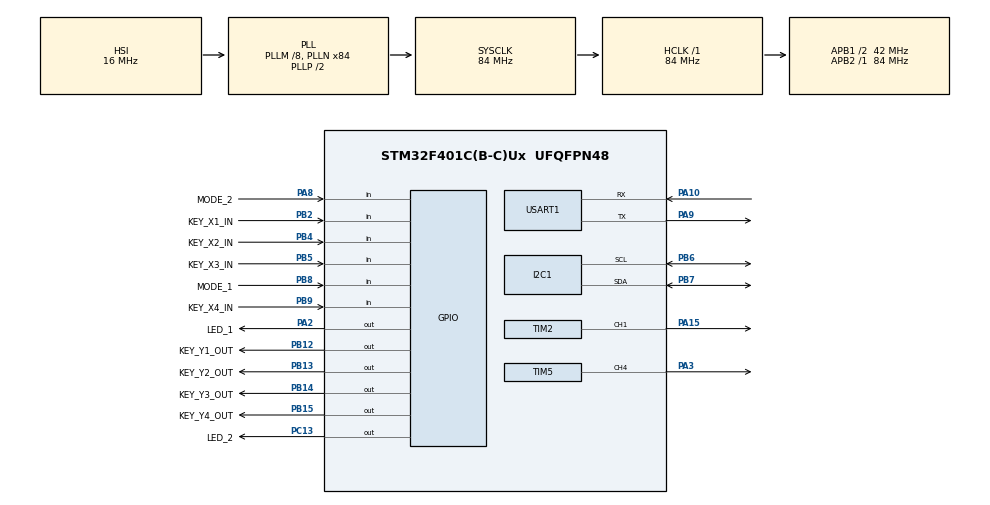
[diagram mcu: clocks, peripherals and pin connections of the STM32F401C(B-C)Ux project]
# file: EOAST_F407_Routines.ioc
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Dma.Request0=TIM2_CH1
Dma.TIM2_CH1.0.Direction=DMA_MEMORY_TO_PERIPH
Dma.TIM2_CH1.0.FIFOMode=DMA_FIFOMODE_DISABLE
Dma.TIM2_CH1.0.Instance=DMA1_Stream5
Dma.TIM2_CH1.0.MemDataAlignment=DMA_MDATAALIGN_WORD
Dma.TIM2_CH1.0.MemInc=DMA_MINC_ENABLE
Dma.TIM2_CH1.0.Mode=DMA_NORMAL
Dma.TIM2_CH1.0.PeriphDataAlignment=DMA_PDATAALIGN_WORD
Dma.TIM2_CH1.0.PeriphInc=DMA_PINC_DISABLE
Dma.TIM2_CH1.0.Priority=DMA_PRIORITY_LOW
I2C1.I2C_Mode=I2C_Fast
Mcu.Family=STM32F4
Mcu.Name=STM32F401C(B-C)Ux
Mcu.Package=UFQFPN48
NVIC.DMA1_Stream5_IRQn=true\:0\:0\:false\:false\:true\:false\:true\:true
NVIC.PriorityGroup=NVIC_PRIORITYGROUP_4
PA10.Mode=Asynchronous
PA10.Signal=USART1_RX
PA13.Mode=Serial_Wire
PA13.Signal=SYS_JTMS-SWDIO
PA14.Mode=Serial_Wire
PA14.Signal=SYS_JTCK-SWCLK
PA15.Signal=S_TIM2_CH1_ETR
PA2.GPIO_Label=LED_1
PA2.GPIO_Speed=GPIO_SPEED_FREQ_VERY_HIGH
PA2.Signal=GPIO_Output
PA3.Signal=S_TIM5_CH4
PA8.GPIO_Label=MODE_2
PA8.GPIO_PuPd=GPIO_PULLUP
PA8.Signal=GPIO_Input
PA9.Mode=Asynchronous
PA9.Signal=USART1_TX
PB12.GPIO_Label=KEY_Y1_OUT
PB12.GPIO_Speed=GPIO_SPEED_FREQ_VERY_HIGH
PB12.PinState=GPIO_PIN_SET
PB12.Signal=GPIO_Output
PB13.GPIO_Label=KEY_Y2_OUT
PB13.GPIO_Speed=GPIO_SPEED_FREQ_VERY_HIGH
PB13.PinState=GPIO_PIN_SET
PB13.Signal=GPIO_Output
PB14.GPIO_Label=KEY_Y3_OUT
PB14.GPIO_Speed=GPIO_SPEED_FREQ_VERY_HIGH
PB14.PinState=GPIO_PIN_SET
PB14.Signal=GPIO_Output
PB15.GPIO_Label=KEY_Y4_OUT
PB15.GPIO_Speed=GPIO_SPEED_FREQ_VERY_HIGH
PB15.PinState=GPIO_PIN_SET
PB15.Signal=GPIO_Output
PB2.GPIO_Label=KEY_X1_IN
PB2.GPIO_PuPd=GPIO_PULLDOWN
PB2.Signal=GPIO_Input
PB4.GPIO_Label=KEY_X2_IN
PB4.GPIO_PuPd=GPIO_PULLDOWN
PB4.Signal=GPIO_Input
PB5.GPIO_Label=KEY_X3_IN
PB5.GPIO_PuPd=GPIO_PULLDOWN
PB5.Signal=GPIO_Input
PB6.Mode=I2C
PB6.Signal=I2C1_SCL
PB7.Mode=I2C
PB7.Signal=I2C1_SDA
PB8.GPIO_Label=MODE_1
PB8.GPIO_PuPd=GPIO_PULLUP
PB8.Signal=GPIO_Input
PB9.GPIO_Label=KEY_X4_IN
PB9.GPIO_PuPd=GPIO_PULLDOWN
PB9.Signal=GPIO_Input
PC13-ANTI_TAMP.GPIO_Label=LED_2
PC13-ANTI_TAMP.GPIO_Speed=GPIO_SPEED_FREQ_LOW
PC13-ANTI_TAMP.Signal=GPIO_Output
PH0\ -\ OSC_IN.Mode=HSE-External-Oscillator
PH0\ -\ OSC_IN.Signal=RCC_OSC_IN
PH1\ -\ OSC_OUT.Mode=HSE-External-Oscillator
PH1\ -\ OSC_OUT.Signal=RCC_OSC_OUT
ProjectManager.HeapSize=0x200
ProjectManager.StackSize=0x400
ProjectManager.TargetToolchain=MDK-ARM V5.32
RCC.48MHZClocksFreq_Value=42000000
RCC.AHBFreq_Value=84000000
RCC.APB1CLKDivider=RCC_HCLK_DIV2
RCC.APB1Freq_Value=42000000
RCC.APB1TimFreq_Value=84000000
RCC.APB2Freq_Value=84000000
RCC.APB2TimFreq_Value=84000000
RCC.CortexFreq_Value=84000000
RCC.HCLKFreq_Value=84000000
RCC.HSE_VALUE=25000000
RCC.HSI_VALUE=16000000
RCC.LSE_VALUE=32768
RCC.PLLM=8
RCC.PLLN=84
RCC.SYSCLKFreq_VALUE=84000000
RCC.SYSCLKSource=RCC_SYSCLKSOURCE_PLLCLK
RCC.VCOOutputFreq_Value=168000000
SH.S_TIM2_CH1_ETR.0=TIM2_CH1,PWM Generation1 CH1
SH.S_TIM5_CH4.0=TIM5_CH4,PWM Generation4 CH4
TIM2.Channel-PWM\ Generation1\ CH1=TIM_CHANNEL_1
TIM2.Period=105
TIM5.Channel-PWM\ Generation4\ CH4=TIM_CHANNEL_4
TIM5.Period=10-1
TIM5.Prescaler=840-1
TIM5.Pulse-PWM\ Generation4\ CH4=5-1
USART1.VirtualMode=VM_ASYNC
VP_TIM2_VS_ClockSourceINT.Mode=Internal
VP_TIM5_VS_ClockSourceINT.Mode=Internal
board=custom

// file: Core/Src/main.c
/* USER CODE BEGIN Header */
/**
  ******************************************************************************
  * @file           : main.c
  * @brief          : Main program body
  ******************************************************************************
  * @attention
  *
  * Copyright (c) 2024 STMicroelectronics.
  * All rights reserved.
  *
  * This software is licensed under terms that can be found in the LICENSE file
  * in the root directory of this software component.
  * If no LICENSE file comes with this software, it is provided AS-IS.
  *
  ******************************************************************************
  */
/* USER CODE END Header */
#include "main.h"
#include "dma.h"
#include "i2c.h"
#include "tim.h"
#include "usart.h"
#include "gpio.h"

/* USER CODE BEGIN Includes */
#include "FZX_KEY.h"
#include "oled.h"
#include "Dino.h"
#include "stdio.h"
#include "2812_driver.h"
/* USER CODE END Includes */

void SystemClock_Config(void);

int main(void)
{
  /* USER CODE BEGIN 1 */
int MODE = 0;//Mode selection
int Flag_Dino = 1;//Mode selection flag
uint8_t TxBuffer[]="hello world\r\n";//定义字符串变�?
  /* USER CODE END 1 */

  /* MCU Configuration--------------------------------------------------------*/

  /* Reset of all peripherals, Initializes the Flash interface and the Systick. */
  HAL_Init();

  /* Configure the system clock */
  SystemClock_Config();

  /* Initialize all configured peripherals */
  MX_GPIO_Init();
  MX_DMA_Init();
  MX_I2C1_Init();
  MX_USART1_UART_Init();
  MX_TIM2_Init();
  MX_TIM5_Init();
  /* USER CODE BEGIN 2 */
	HAL_Delay(20);
	HAL_TIM_PWM_Init(&htim5);
	OLED_Init();

		OLED_NewFrame();
		OLED_PrintString(16, 0, "南京邮电大学", &font16x16, OLED_COLOR_NORMAL);
		OLED_PrintString(48, 16, "EOAST", &font16x16, OLED_COLOR_NORMAL);
		OLED_PrintString(35, 32, "科协例程", &font16x16, OLED_COLOR_NORMAL);
		OLED_ShowFrame();

		HAL_TIM_PWM_Start(&htim5,TIM_CHANNEL_4);

		HAL_Delay(200);
		HAL_GPIO_TogglePin(GPIOA,GPIO_PIN_2);

		for(int i = 5; i > 0 ; i-- ){
		HAL_GPIO_TogglePin(GPIOC,GPIO_PIN_13);
		HAL_GPIO_TogglePin(GPIOA,GPIO_PIN_2);
			switch (i)
			{
				case 5:
					RGB_RED(4); HAL_Delay(100);RGB_BLACK(4);break;
				case 4:
					RGB_GREEN(4);HAL_Delay(100);RGB_BLACK(4);break;
				case 3:
					RGB_BLUE(4);HAL_Delay(100);RGB_BLACK(4);break;
				case 2:
					RGB_WHITE(4);HAL_Delay(100);RGB_BLACK(4);break;
				case 1:
					RGB_RED(4); HAL_Delay(100);RGB_BLACK(4);break;
			}
		HAL_Delay(100);
		}

		HAL_GPIO_WritePin(GPIOA,GPIO_PIN_2,1);
		HAL_GPIO_WritePin(GPIOC,GPIO_PIN_13,1);

		RGB_BLACK(4);

		HAL_TIM_PWM_Stop(&htim5,TIM_CHANNEL_4);

		OLED_NewFrame();
		OLED_ShowFrame();
		HAL_Delay(100);
  /* USER CODE END 2 */

  /* Infinite loop */
  /* USER CODE BEGIN WHILE */
	introMessage();
  while (1)
  {
		HAL_UART_Transmit(&huart1, (uint8_t *)TxBuffer, sizeof(TxBuffer),0xFFFF);
		//Code block one:Mode selection
		if(HAL_GPIO_ReadPin(GPIOB,GPIO_PIN_8) == 0)
		{
			MODE = 0;
			Flag_Dino = 1;
		}
		if(HAL_GPIO_ReadPin(GPIOA,GPIO_PIN_8) == 0)
		{
			MODE = 1;
			Flag_Dino = 1;
		}
		//Code block one:Mode selection

		//Code block two
		switch (MODE)
		{
			case 0://MODE_0 DINO_GAME
			{
				if(Flag_Dino){
					introMessage();
					Flag_Dino = 0;
				}
				if (HAL_GPIO_ReadPin(GPIOB, GPIO_PIN_2) == GPIO_PIN_SET || HAL_GPIO_ReadPin(GPIOB, GPIO_PIN_4) == GPIO_PIN_SET ||
				HAL_GPIO_ReadPin(GPIOB, GPIO_PIN_5) == GPIO_PIN_SET || HAL_GPIO_ReadPin(GPIOB, GPIO_PIN_9) == GPIO_PIN_SET) {
					showLine();
					play();
					HAL_Delay(300);
				}
				break;
			}
			case 1:
			{
				int key = 0;

				if(Flag_Dino){
					OLED_NewFrame();
					OLED_ShowFrame();
					HAL_Delay(100);
					Flag_Dino = 0;
				}

				key = KEY_Scan();

				if(key == 1){
					OLED_NewFrame();
					OLED_DrawImage(0, 0, &muaImg , OLED_COLOR_NORMAL);
					OLED_ShowFrame();
					HAL_Delay(100);
				}
				else if(key == 2){
					OLED_NewFrame();
					OLED_DrawImage(0, 0, &enenImg , OLED_COLOR_NORMAL);
					OLED_ShowFrame();
					HAL_Delay(100);
				}
				else if(key == 3){
					OLED_NewFrame();
					OLED_DrawImage(0, 0, &xixiImg , OLED_COLOR_NORMAL);
					OLED_ShowFrame();
					HAL_Delay(100);
				}
				else if(key == 4){
					OLED_NewFrame();
					OLED_DrawImage(0, 0, &enImg , OLED_COLOR_NORMAL);
					OLED_ShowFrame();
					HAL_Delay(100);
				}
				else if(key == 5){
					OLED_NewFrame();
					OLED_DrawImage(0, 0, &winkImg , OLED_COLOR_NORMAL);
					OLED_ShowFrame();
					HAL_Delay(100);
				}
				else if(key == 6){
					OLED_NewFrame();
					OLED_DrawImage(0, 0, &aImg , OLED_COLOR_NORMAL);
					OLED_ShowFrame();
					HAL_Delay(100);
				}
				else if(key == 7){
					OLED_NewFrame();
					OLED_DrawImage(0, 0, &aowuImg , OLED_COLOR_NORMAL);
					OLED_ShowFrame();
					HAL_Delay(100);
				}
				else if(key == 8){
					OLED_NewFrame();
					OLED_DrawImage(0, 0, &none1Img , OLED_COLOR_NORMAL);
					OLED_ShowFrame();
					HAL_Delay(100);
				}
				else if(key == 9){
					OLED_NewFrame();
					OLED_DrawImage(0, 0, &smileiImg , OLED_COLOR_NORMAL);
					OLED_ShowFrame();
					HAL_Delay(100);
				}
				else if(key == 10){
					OLED_NewFrame();
					OLED_DrawImage(0, 0, &jiImg , OLED_COLOR_NORMAL);
					OLED_ShowFrame();
					HAL_Delay(100);
				}
				else if(key == 11){
					OLED_NewFrame();
					OLED_DrawImage(0, 0, &cai1Img , OLED_COLOR_NORMAL);
					OLED_ShowFrame();
					HAL_Delay(100);
				}
				else if(key == 12){
					OLED_NewFrame();
					OLED_DrawImage(0, 0, &cai2Img , OLED_COLOR_NORMAL);
					OLED_ShowFrame();
					HAL_Delay(100);
				}

				break;
			}
			default:
				break;
		}
		//Code block two
    /* USER CODE END WHILE */

  }
}

void SystemClock_Config(void)
{
  RCC_OscInitTypeDef RCC_OscInitStruct = {0};
  RCC_ClkInitTypeDef RCC_ClkInitStruct = {0};

  /** Configure the main internal regulator output voltage
  */
  __HAL_RCC_PWR_CLK_ENABLE();
  __HAL_PWR_VOLTAGESCALING_CONFIG(PWR_REGULATOR_VOLTAGE_SCALE2);

  /** Initializes the RCC Oscillators according to the specified parameters
  * in the RCC_OscInitTypeDef structure.
  */
  RCC_OscInitStruct.OscillatorType = RCC_OSCILLATORTYPE_HSI;
  RCC_OscInitStruct.HSIState = RCC_HSI_ON;
  RCC_OscInitStruct.HSICalibrationValue = RCC_HSICALIBRATION_DEFAULT;
  RCC_OscInitStruct.PLL.PLLState = RCC_PLL_ON;
  RCC_OscInitStruct.PLL.PLLSource = RCC_PLLSOURCE_HSI;
  RCC_OscInitStruct.PLL.PLLM = 8;
  RCC_OscInitStruct.PLL.PLLN = 84;
  RCC_OscInitStruct.PLL.PLLP = RCC_PLLP_DIV2;
  RCC_OscInitStruct.PLL.PLLQ = 4;
  if (HAL_RCC_OscConfig(&RCC_OscInitStruct) != HAL_OK)
  {
    Error_Handler();
  }

  /** Initializes the CPU, AHB and APB buses clocks
  */
  RCC_ClkInitStruct.ClockType = RCC_CLOCKTYPE_HCLK|RCC_CLOCKTYPE_SYSCLK
                              |RCC_CLOCKTYPE_PCLK1|RCC_CLOCKTYPE_PCLK2;
  RCC_ClkInitStruct.SYSCLKSource = RCC_SYSCLKSOURCE_PLLCLK;
  RCC_ClkInitStruct.AHBCLKDivider = RCC_SYSCLK_DIV1;
  RCC_ClkInitStruct.APB1CLKDivider = RCC_HCLK_DIV2;
  RCC_ClkInitStruct.APB2CLKDivider = RCC_HCLK_DIV1;

  if (HAL_RCC_ClockConfig(&RCC_ClkInitStruct, FLASH_LATENCY_2) != HAL_OK)
  {
    Error_Handler();
  }
}

void Error_Handler(void)
{
  __disable_irq();
  while (1)
  {
  }
}
